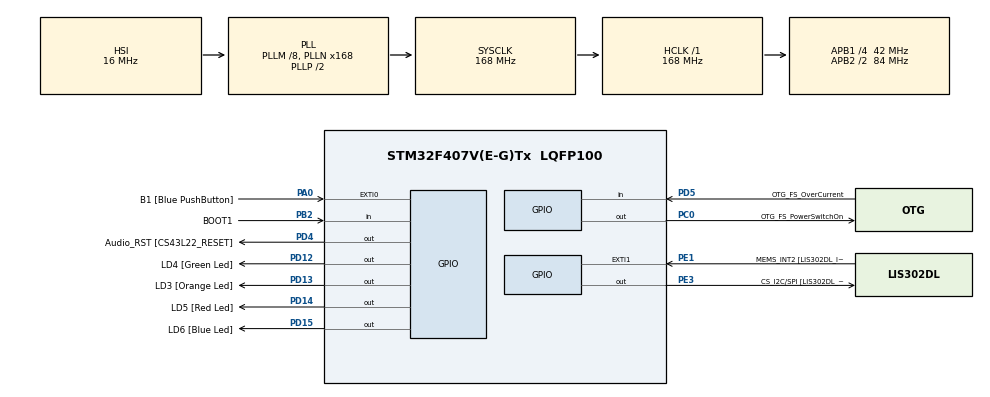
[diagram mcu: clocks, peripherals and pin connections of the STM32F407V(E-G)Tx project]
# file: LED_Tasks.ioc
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Mcu.Family=STM32F4
Mcu.Name=STM32F407V(E-G)Tx
Mcu.Package=LQFP100
NVIC.PriorityGroup=NVIC_PRIORITYGROUP_4
NVIC.TIM6_DAC_IRQn=true\:0\:0\:false\:false\:true\:false\:true\:true
NVIC.TimeBase=TIM6_DAC_IRQn
NVIC.TimeBaseIP=TIM6
PA0-WKUP.GPIO_Label=B1 [Blue PushButton]
PA0-WKUP.Signal=GPXTI0
PA10.GPIO_Label=OTG_FS_ID
PA10.GPIO_Mode=GPIO_MODE_AF_PP
PA10.GPIO_PuPd=GPIO_NOPULL
PA10.GPIO_Speed=GPIO_SPEED_FREQ_LOW
PA10.Signal=USB_OTG_FS_ID
PA11.GPIO_Label=OTG_FS_DM
PA11.GPIO_Mode=GPIO_MODE_AF_PP
PA11.GPIO_PuPd=GPIO_NOPULL
PA11.GPIO_Speed=GPIO_SPEED_FREQ_LOW
PA11.Signal=USB_OTG_FS_DM
PA12.GPIO_Label=OTG_FS_DP
PA12.GPIO_Mode=GPIO_MODE_AF_PP
PA12.GPIO_PuPd=GPIO_NOPULL
PA12.GPIO_Speed=GPIO_SPEED_FREQ_LOW
PA12.Signal=USB_OTG_FS_DP
PA13.GPIO_Label=SWDIO
PA13.Signal=SYS_JTMS-SWDIO
PA14.GPIO_Label=SWCLK
PA14.Signal=SYS_JTCK-SWCLK
PA4.GPIO_Label=I2S3_WS [CS43L22_LRCK]
PA4.GPIO_Mode=GPIO_MODE_AF_PP
PA4.GPIO_PuPd=GPIO_NOPULL
PA4.GPIO_Speed=GPIO_SPEED_FREQ_LOW
PA4.Signal=I2S3_WS
PA5.GPIO_Label=SPI1_SCK [LIS302DL_SCL/SPC]
PA5.GPIO_Mode=GPIO_MODE_AF_PP
PA5.GPIO_PuPd=GPIO_NOPULL
PA5.GPIO_Speed=GPIO_SPEED_FREQ_LOW
PA5.Signal=SPI1_SCK
PA6.GPIO_Label=SPI1_MISO [LIS302DL_SDO]
PA6.GPIO_Mode=GPIO_MODE_AF_PP
PA6.GPIO_PuPd=GPIO_NOPULL
PA6.GPIO_Speed=GPIO_SPEED_FREQ_LOW
PA6.Signal=SPI1_MISO
PA7.GPIO_Label=SPI1_MOSI [LIS302DL_SDA/SDI/SDO]
PA7.GPIO_Mode=GPIO_MODE_AF_PP
PA7.GPIO_PuPd=GPIO_NOPULL
PA7.GPIO_Speed=GPIO_SPEED_FREQ_LOW
PA7.Signal=SPI1_MOSI
PA9.GPIO_Label=VBUS_FS
PA9.GPIO_Mode=GPIO_MODE_INPUT
PA9.GPIO_PuPd=GPIO_NOPULL
PA9.Signal=USB_OTG_FS_VBUS
PB10.GPIO_Label=CLK_IN [MP45DT02_CLK]
PB10.GPIO_Mode=GPIO_MODE_AF_PP
PB10.GPIO_PuPd=GPIO_NOPULL
PB10.GPIO_Speed=GPIO_SPEED_FREQ_LOW
PB10.Signal=I2S2_CK
PB2.GPIO_Label=BOOT1
PB2.GPIO_Mode=GPIO_MODE_INPUT
PB2.GPIO_PuPd=GPIO_NOPULL
PB2.Signal=GPIO_Input
PB3.GPIO_Label=SWO
PB3.Signal=SYS_JTDO-SWO
PB6.GPIO_Label=Audio_SCL [CS43L22_SCL]
PB6.GPIO_Mode=GPIO_MODE_AF_OD
PB6.GPIO_PuPd=GPIO_NOPULL
PB6.GPIO_Speed=GPIO_SPEED_FREQ_LOW
PB6.Signal=I2C1_SCL
PB9.GPIO_Label=Audio_SDA [CS43L22_SDA]
PB9.GPIO_Mode=GPIO_MODE_AF_OD
PB9.GPIO_PuPd=GPIO_NOPULL
PB9.GPIO_Speed=GPIO_SPEED_FREQ_LOW
PB9.Signal=I2C1_SDA
PC0.GPIO_Label=OTG_FS_PowerSwitchOn
PC0.GPIO_PuPd=GPIO_NOPULL
PC0.GPIO_Speed=GPIO_SPEED_FREQ_LOW
PC0.PinState=GPIO_PIN_SET
PC0.Signal=GPIO_Output
PC10.GPIO_Label=I2S3_SCK [CS43L22_SCLK]
PC10.GPIO_Mode=GPIO_MODE_AF_PP
PC10.GPIO_PuPd=GPIO_NOPULL
PC10.GPIO_Speed=GPIO_SPEED_FREQ_LOW
PC10.Signal=I2S3_CK
PC12.GPIO_Label=I2S3_SD [CS43L22_SDIN]
PC12.GPIO_Mode=GPIO_MODE_AF_PP
PC12.GPIO_PuPd=GPIO_NOPULL
PC12.GPIO_Speed=GPIO_SPEED_FREQ_LOW
PC12.Signal=I2S3_SD
PC14-OSC32_IN.GPIO_Label=PC14-OSC32_IN
PC14-OSC32_IN.Signal=RCC_OSC32_IN
PC15-OSC32_OUT.GPIO_Label=PC15-OSC32_OUT
PC15-OSC32_OUT.Signal=RCC_OSC32_OUT
PC3.GPIO_Label=PDM_OUT [MP45DT02_DOUT]
PC3.GPIO_Mode=GPIO_MODE_AF_PP
PC3.GPIO_PuPd=GPIO_NOPULL
PC3.GPIO_Speed=GPIO_SPEED_FREQ_LOW
PC3.Signal=I2S2_SD
PC7.GPIO_Label=I2S3_MCK [CS43L22_MCLK]
PC7.GPIO_Mode=GPIO_MODE_AF_PP
PC7.GPIO_PuPd=GPIO_NOPULL
PC7.GPIO_Speed=GPIO_SPEED_FREQ_LOW
PC7.Signal=I2S3_MCK
PD12.GPIO_Label=LD4 [Green Led]
PD12.GPIO_PuPd=GPIO_NOPULL
PD12.GPIO_Speed=GPIO_SPEED_FREQ_LOW
PD12.Signal=GPIO_Output
PD13.GPIO_Label=LD3 [Orange Led]
PD13.GPIO_PuPd=GPIO_NOPULL
PD13.GPIO_Speed=GPIO_SPEED_FREQ_LOW
PD13.Signal=GPIO_Output
PD14.GPIO_Label=LD5 [Red Led]
PD14.GPIO_PuPd=GPIO_NOPULL
PD14.GPIO_Speed=GPIO_SPEED_FREQ_LOW
PD14.Signal=GPIO_Output
PD15.GPIO_Label=LD6 [Blue Led]
PD15.GPIO_PuPd=GPIO_NOPULL
PD15.GPIO_Speed=GPIO_SPEED_FREQ_LOW
PD15.Signal=GPIO_Output
PD4.GPIO_Label=Audio_RST [CS43L22_RESET]
PD4.GPIO_PuPd=GPIO_NOPULL
PD4.GPIO_Speed=GPIO_SPEED_FREQ_LOW
PD4.Signal=GPIO_Output
PD5.GPIO_Label=OTG_FS_OverCurrent
PD5.GPIO_Mode=GPIO_MODE_INPUT
PD5.GPIO_PuPd=GPIO_NOPULL
PD5.Signal=GPIO_Input
PE1.GPIO_Label=MEMS_INT2 [LIS302DL_INT2]
PE1.GPIO_ModeDefaultEXTI=GPIO_MODE_EVT_RISING
PE1.GPIO_PuPd=GPIO_NOPULL
PE1.Signal=GPXTI1
PE3.GPIO_Label=CS_I2C/SPI [LIS302DL_CS_I2C/SPI]
PE3.GPIO_PuPd=GPIO_NOPULL
PE3.GPIO_Speed=GPIO_SPEED_FREQ_LOW
PE3.Signal=GPIO_Output
PH0-OSC_IN.GPIO_Label=PH0-OSC_IN
PH0-OSC_IN.Signal=RCC_OSC_IN
PH1-OSC_OUT.GPIO_Label=PH1-OSC_OUT
PH1-OSC_OUT.Signal=RCC_OSC_OUT
ProjectManager.HeapSize=0x200
ProjectManager.StackSize=0x400
ProjectManager.TargetToolchain=STM32CubeIDE
RCC.48MHZClocksFreq_Value=48000000
RCC.AHBFreq_Value=168000000
RCC.APB1CLKDivider=RCC_HCLK_DIV4
RCC.APB1Freq_Value=42000000
RCC.APB1TimFreq_Value=84000000
RCC.APB2CLKDivider=RCC_HCLK_DIV2
RCC.APB2Freq_Value=84000000
RCC.APB2TimFreq_Value=168000000
RCC.CortexFreq_Value=168000000
RCC.HCLKFreq_Value=168000000
RCC.HSE_VALUE=8000000
RCC.HSI_VALUE=16000000
RCC.LSE_VALUE=32768
RCC.PLLM=8
RCC.PLLN=168
RCC.PLLQ=7
RCC.SYSCLKFreq_VALUE=168000000
RCC.SYSCLKSource=RCC_SYSCLKSOURCE_PLLCLK
RCC.VCOOutputFreq_Value=336000000
VP_SYS_VS_tim6.Mode=TIM6
board=STM32F407G-DISC1

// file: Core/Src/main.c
/* USER CODE BEGIN Header */
/**
  ******************************************************************************
  * @file           : main.c
  * @brief          : Main program body
  ******************************************************************************
  * @attention
  *
  * Copyright (c) 2025 STMicroelectronics.
  * All rights reserved.
  *
  * This software is licensed under terms that can be found in the LICENSE file
  * in the root directory of this software component.
  * If no LICENSE file comes with this software, it is provided AS-IS.
  *
  ******************************************************************************
  */
/* USER CODE END Header */
#include "main.h"

/* USER CODE BEGIN Includes */
#include "FreeRTOS.h"
#include "task.h"
/* USER CODE END Includes */

/* USER CODE BEGIN PV */
#define DWT_CTRL (*(volatile uint32_t*)0xE0001000)
/* USER CODE END PV */

void SystemClock_Config(void);
static void MX_GPIO_Init(void);
/* USER CODE BEGIN PFP */
static void led_green_handler(void* parameters);
static void led_red_handler(void* parameters);
static void led_orange_handler(void* parameters);

extern void SEGGER_UART_init(uint32_t);
/* USER CODE END PFP */

int main(void)
{

  /* USER CODE BEGIN 1 */
	TaskHandle_t task1_handle;
	TaskHandle_t task2_handle;
	TaskHandle_t task3_handle;

	BaseType_t status;
  /* USER CODE END 1 */

  /* MCU Configuration--------------------------------------------------------*/

  /* Reset of all peripherals, Initializes the Flash interface and the Systick. */
  HAL_Init();

  /* Configure the system clock */
  SystemClock_Config();

  /* Initialize all configured peripherals */
  MX_GPIO_Init();
  /* USER CODE BEGIN 2 */

  SEGGER_UART_init(500000); //for uart communucation

  //CYCLCNT enable
  DWT_CTRL |= (1 << 0);

  SEGGER_SYSVIEW_Conf(); //for uart communucation

  status = xTaskCreate(led_green_handler, "led_green_handler", 200, NULL, 2, &task1_handle);
  configASSERT(status == pdPASS);

  status = xTaskCreate(led_orange_handler, "led_orange_handler", 200, NULL, 2, &task3_handle);
  configASSERT(status == pdPASS);

  status = xTaskCreate(led_red_handler, "led_red_handler", 200, NULL, 2, &task2_handle);
  configASSERT(status == pdPASS);

  //start the freeRTOS scheduler
  vTaskStartScheduler();

  /* USER CODE END 2 */

  /* Infinite loop */
  while (1)
  {

  }
}

void SystemClock_Config(void)
{
  RCC_OscInitTypeDef RCC_OscInitStruct = {0};
  RCC_ClkInitTypeDef RCC_ClkInitStruct = {0};

  /** Configure the main internal regulator output voltage
  */
  __HAL_RCC_PWR_CLK_ENABLE();
  __HAL_PWR_VOLTAGESCALING_CONFIG(PWR_REGULATOR_VOLTAGE_SCALE1);

  /** Initializes the RCC Oscillators according to the specified parameters
  * in the RCC_OscInitTypeDef structure.
  */
  RCC_OscInitStruct.OscillatorType = RCC_OSCILLATORTYPE_HSI;
  RCC_OscInitStruct.HSIState = RCC_HSI_ON;
  RCC_OscInitStruct.HSICalibrationValue = RCC_HSICALIBRATION_DEFAULT;
  RCC_OscInitStruct.PLL.PLLState = RCC_PLL_ON;
  RCC_OscInitStruct.PLL.PLLSource = RCC_PLLSOURCE_HSI;
  RCC_OscInitStruct.PLL.PLLM = 8;
  RCC_OscInitStruct.PLL.PLLN = 168;
  RCC_OscInitStruct.PLL.PLLP = RCC_PLLP_DIV2;
  RCC_OscInitStruct.PLL.PLLQ = 7;
  if (HAL_RCC_OscConfig(&RCC_OscInitStruct) != HAL_OK)
  {
    Error_Handler();
  }

  /** Initializes the CPU, AHB and APB buses clocks
  */
  RCC_ClkInitStruct.ClockType = RCC_CLOCKTYPE_HCLK|RCC_CLOCKTYPE_SYSCLK
                              |RCC_CLOCKTYPE_PCLK1|RCC_CLOCKTYPE_PCLK2;
  RCC_ClkInitStruct.SYSCLKSource = RCC_SYSCLKSOURCE_PLLCLK;
  RCC_ClkInitStruct.AHBCLKDivider = RCC_SYSCLK_DIV1;
  RCC_ClkInitStruct.APB1CLKDivider = RCC_HCLK_DIV4;
  RCC_ClkInitStruct.APB2CLKDivider = RCC_HCLK_DIV2;

  if (HAL_RCC_ClockConfig(&RCC_ClkInitStruct, FLASH_LATENCY_5) != HAL_OK)
  {
    Error_Handler();
  }
}

static void MX_GPIO_Init(void)
{
  GPIO_InitTypeDef GPIO_InitStruct = {0};

  /* GPIO Ports Clock Enable */
  __HAL_RCC_GPIOE_CLK_ENABLE();
  __HAL_RCC_GPIOC_CLK_ENABLE();
  __HAL_RCC_GPIOH_CLK_ENABLE();
  __HAL_RCC_GPIOA_CLK_ENABLE();
  __HAL_RCC_GPIOB_CLK_ENABLE();
  __HAL_RCC_GPIOD_CLK_ENABLE();

  /*Configure GPIO pin Output Level */
  HAL_GPIO_WritePin(CS_I2C_SPI_GPIO_Port, CS_I2C_SPI_Pin, GPIO_PIN_RESET);

  /*Configure GPIO pin Output Level */
  HAL_GPIO_WritePin(OTG_FS_PowerSwitchOn_GPIO_Port, OTG_FS_PowerSwitchOn_Pin, GPIO_PIN_SET);

  /*Configure GPIO pin Output Level */
  HAL_GPIO_WritePin(GPIOD, LD4_Pin|LD3_Pin|LD5_Pin|LD6_Pin
                          |Audio_RST_Pin, GPIO_PIN_RESET);

  /*Configure GPIO pin : CS_I2C_SPI_Pin */
  GPIO_InitStruct.Pin = CS_I2C_SPI_Pin;
  GPIO_InitStruct.Mode = GPIO_MODE_OUTPUT_PP;
  GPIO_InitStruct.Pull = GPIO_NOPULL;
  GPIO_InitStruct.Speed = GPIO_SPEED_FREQ_LOW;
  HAL_GPIO_Init(CS_I2C_SPI_GPIO_Port, &GPIO_InitStruct);

  /*Configure GPIO pin : OTG_FS_PowerSwitchOn_Pin */
  GPIO_InitStruct.Pin = OTG_FS_PowerSwitchOn_Pin;
  GPIO_InitStruct.Mode = GPIO_MODE_OUTPUT_PP;
  GPIO_InitStruct.Pull = GPIO_NOPULL;
  GPIO_InitStruct.Speed = GPIO_SPEED_FREQ_LOW;
  HAL_GPIO_Init(OTG_FS_PowerSwitchOn_GPIO_Port, &GPIO_InitStruct);

  /*Configure GPIO pin : PDM_OUT_Pin */
  GPIO_InitStruct.Pin = PDM_OUT_Pin;
  GPIO_InitStruct.Mode = GPIO_MODE_AF_PP;
  GPIO_InitStruct.Pull = GPIO_NOPULL;
  GPIO_InitStruct.Speed = GPIO_SPEED_FREQ_LOW;
  GPIO_InitStruct.Alternate = GPIO_AF5_SPI2;
  HAL_GPIO_Init(PDM_OUT_GPIO_Port, &GPIO_InitStruct);

  /*Configure GPIO pin : B1_Pin */
  GPIO_InitStruct.Pin = B1_Pin;
  GPIO_InitStruct.Mode = GPIO_MODE_IT_RISING;
  GPIO_InitStruct.Pull = GPIO_NOPULL;
  HAL_GPIO_Init(B1_GPIO_Port, &GPIO_InitStruct);

  /*Configure GPIO pin : I2S3_WS_Pin */
  GPIO_InitStruct.Pin = I2S3_WS_Pin;
  GPIO_InitStruct.Mode = GPIO_MODE_AF_PP;
  GPIO_InitStruct.Pull = GPIO_NOPULL;
  GPIO_InitStruct.Speed = GPIO_SPEED_FREQ_LOW;
  GPIO_InitStruct.Alternate = GPIO_AF6_SPI3;
  HAL_GPIO_Init(I2S3_WS_GPIO_Port, &GPIO_InitStruct);

  /*Configure GPIO pins : SPI1_SCK_Pin SPI1_MISO_Pin SPI1_MOSI_Pin */
  GPIO_InitStruct.Pin = SPI1_SCK_Pin|SPI1_MISO_Pin|SPI1_MOSI_Pin;
  GPIO_InitStruct.Mode = GPIO_MODE_AF_PP;
  GPIO_InitStruct.Pull = GPIO_NOPULL;
  GPIO_InitStruct.Speed = GPIO_SPEED_FREQ_LOW;
  GPIO_InitStruct.Alternate = GPIO_AF5_SPI1;
  HAL_GPIO_Init(GPIOA, &GPIO_InitStruct);

  /*Configure GPIO pin : BOOT1_Pin */
  GPIO_InitStruct.Pin = BOOT1_Pin;
  GPIO_InitStruct.Mode = GPIO_MODE_INPUT;
  GPIO_InitStruct.Pull = GPIO_NOPULL;
  HAL_GPIO_Init(BOOT1_GPIO_Port, &GPIO_InitStruct);

  /*Configure GPIO pin : CLK_IN_Pin */
  GPIO_InitStruct.Pin = CLK_IN_Pin;
  GPIO_InitStruct.Mode = GPIO_MODE_AF_PP;
  GPIO_InitStruct.Pull = GPIO_NOPULL;
  GPIO_InitStruct.Speed = GPIO_SPEED_FREQ_LOW;
  GPIO_InitStruct.Alternate = GPIO_AF5_SPI2;
  HAL_GPIO_Init(CLK_IN_GPIO_Port, &GPIO_InitStruct);

  /*Configure GPIO pins : LD4_Pin LD3_Pin LD5_Pin LD6_Pin
                           Audio_RST_Pin */
  GPIO_InitStruct.Pin = LD4_Pin|LD3_Pin|LD5_Pin|LD6_Pin
                          |Audio_RST_Pin;
  GPIO_InitStruct.Mode = GPIO_MODE_OUTPUT_PP;
  GPIO_InitStruct.Pull = GPIO_NOPULL;
  GPIO_InitStruct.Speed = GPIO_SPEED_FREQ_LOW;
  HAL_GPIO_Init(GPIOD, &GPIO_InitStruct);

  /*Configure GPIO pins : I2S3_MCK_Pin I2S3_SCK_Pin I2S3_SD_Pin */
  GPIO_InitStruct.Pin = I2S3_MCK_Pin|I2S3_SCK_Pin|I2S3_SD_Pin;
  GPIO_InitStruct.Mode = GPIO_MODE_AF_PP;
  GPIO_InitStruct.Pull = GPIO_NOPULL;
  GPIO_InitStruct.Speed = GPIO_SPEED_FREQ_LOW;
  GPIO_InitStruct.Alternate = GPIO_AF6_SPI3;
  HAL_GPIO_Init(GPIOC, &GPIO_InitStruct);

  /*Configure GPIO pin : VBUS_FS_Pin */
  GPIO_InitStruct.Pin = VBUS_FS_Pin;
  GPIO_InitStruct.Mode = GPIO_MODE_INPUT;
  GPIO_InitStruct.Pull = GPIO_NOPULL;
  HAL_GPIO_Init(VBUS_FS_GPIO_Port, &GPIO_InitStruct);

  /*Configure GPIO pins : OTG_FS_ID_Pin OTG_FS_DM_Pin OTG_FS_DP_Pin */
  GPIO_InitStruct.Pin = OTG_FS_ID_Pin|OTG_FS_DM_Pin|OTG_FS_DP_Pin;
  GPIO_InitStruct.Mode = GPIO_MODE_AF_PP;
  GPIO_InitStruct.Pull = GPIO_NOPULL;
  GPIO_InitStruct.Speed = GPIO_SPEED_FREQ_LOW;
  GPIO_InitStruct.Alternate = GPIO_AF10_OTG_FS;
  HAL_GPIO_Init(GPIOA, &GPIO_InitStruct);

  /*Configure GPIO pin : OTG_FS_OverCurrent_Pin */
  GPIO_InitStruct.Pin = OTG_FS_OverCurrent_Pin;
  GPIO_InitStruct.Mode = GPIO_MODE_INPUT;
  GPIO_InitStruct.Pull = GPIO_NOPULL;
  HAL_GPIO_Init(OTG_FS_OverCurrent_GPIO_Port, &GPIO_InitStruct);

  /*Configure GPIO pins : Audio_SCL_Pin Audio_SDA_Pin */
  GPIO_InitStruct.Pin = Audio_SCL_Pin|Audio_SDA_Pin;
  GPIO_InitStruct.Mode = GPIO_MODE_AF_OD;
  GPIO_InitStruct.Pull = GPIO_NOPULL;
  GPIO_InitStruct.Speed = GPIO_SPEED_FREQ_LOW;
  GPIO_InitStruct.Alternate = GPIO_AF4_I2C1;
  HAL_GPIO_Init(GPIOB, &GPIO_InitStruct);

  /*Configure GPIO pin : MEMS_INT2_Pin */
  GPIO_InitStruct.Pin = MEMS_INT2_Pin;
  GPIO_InitStruct.Mode = GPIO_MODE_EVT_RISING;
  GPIO_InitStruct.Pull = GPIO_NOPULL;
  HAL_GPIO_Init(MEMS_INT2_GPIO_Port, &GPIO_InitStruct);

}

/* USER CODE BEGIN 4 */
static void led_green_handler(void* parameters){
	while(1){
		SEGGER_SYSVIEW_PrintfTarget("Toggling green LED");
		HAL_GPIO_TogglePin(GPIOD, LED_GREEN_PIN);
		//HAL_Delay(1000); //this is blocking delay
		vTaskDelay(pdMS_TO_TICKS(1000)); //this is unblocking delay pdMS_TO_TICKS convert ticks to milisecnonds, we gave 1000 ms and it calculates the ticks
		//taskYIELD(); //for co-operative scheduling
		/*
		 * When I use the word blocking in this context, it means that, it blocks the processor. That means, it keeps the processor engaged for the delay duration.
		 * Non blocking delay's means, they don't engage the CPU for the delay duration. For this exercise, let's just use HAL_DELAY function, which is given by the HAL cube layer,
		 * HAL_DELAY. You just have to mention the amount of delay in milliseconds, let me just write thousands here. As you can see, this is a blocking delay.
		 * If you just explore this HAL_DELAY, you see a while loop here.That's why, it keeps the processor engaged in this while loop, which is not a good idea to use here,
		 * but we will replace this delay with FreeRTOS provided non blocking delays which we'll discuss later.
		 */
	}
}

static void led_orange_handler(void* parameters){
	while(1){
		SEGGER_SYSVIEW_PrintfTarget("Toggling orange LED");
		HAL_GPIO_TogglePin(GPIOD, LED_ORANGE_PIN);
		//HAL_Delay(800);
		vTaskDelay(pdMS_TO_TICKS(800));
		//taskYIELD();
	}
}

static void led_red_handler(void* parameters){
	while(1){
		SEGGER_SYSVIEW_PrintfTarget("Toggling red LED");
		HAL_GPIO_TogglePin(GPIOD, LED_RED_PIN);
		//HAL_Delay(400);
		vTaskDelay(pdMS_TO_TICKS(400));
		//taskYIELD();
	}
}
/* USER CODE END 4 */

void HAL_TIM_PeriodElapsedCallback(TIM_HandleTypeDef *htim)
{
  if (htim->Instance == TIM6)
  {
    HAL_IncTick();
  }
}

void Error_Handler(void)
{
  __disable_irq();
  while (1)
  {
  }
}
